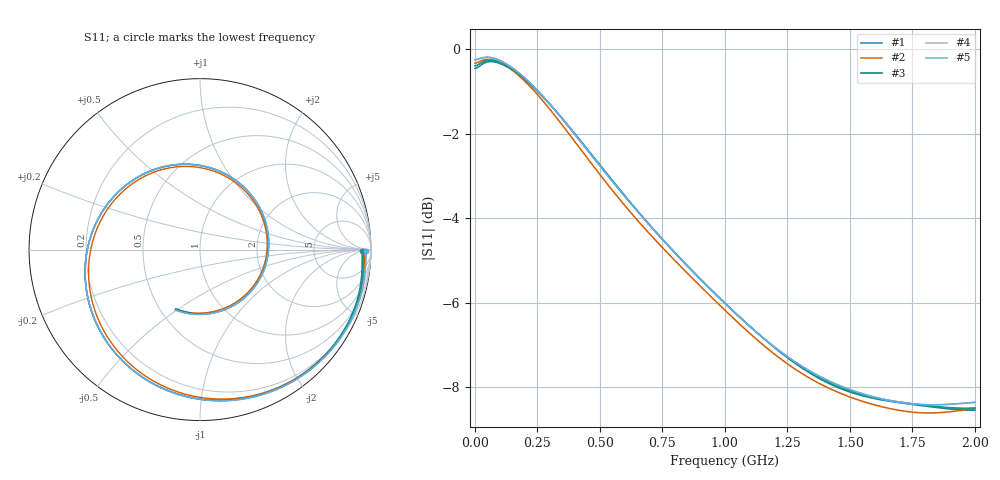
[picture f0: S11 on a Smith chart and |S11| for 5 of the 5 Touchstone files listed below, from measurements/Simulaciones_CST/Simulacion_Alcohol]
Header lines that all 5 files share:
! TOUCHSTONE file generated by CST MICROWAVE STUDIO
! Project name: Sonda-Coaxial_21mm_DisifixB_v2_Alchol.cst
! Header version: 2018
! Port assignment regex: !\s*Touchstone port\s*([0-9]+)\s*=\s*(CST MWS port|CST DS port)\s*([0-9]+|Zmin|Zmax)\s*\(\"(.*)\"\)(\s*mode\s*([0-9]+))?.*
! Touchstone port assignment:
! Touchstone port 1 = CST MWS port 1 ("")
# GHz S RI R 50
Fixed: h_recipiente = 20, l_conector = 50, r_arandela = 35, r_ext = 10.5, r_int = 3, r_recipiente = 100
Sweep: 1 MHz to 2 GHz
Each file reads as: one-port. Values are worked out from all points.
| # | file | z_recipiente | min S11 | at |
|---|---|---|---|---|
| 1 | Sonda-Coaxial_21mm_DisifixB_v2_Alchol_1.s1p | -30 | -8.6 dB | 1.985 GHz |
| 2 | Sonda-Coaxial_21mm_DisifixB_v2_Alchol_2.s1p | -10 | -8.6 dB | 1.817 GHz |
| 3 | Sonda-Coaxial_21mm_DisifixB_v2_Alchol_3.s1p | -50 | -8.5 dB | 1.962 GHz |
| 4 | Sonda-Coaxial_21mm_DisifixB_v2_Alchol_4.s1p | -80 | -8.4 dB | 1.833 GHz |
| 5 | Sonda-Coaxial_21mm_DisifixB_v2_Alchol_5.s1p | -100 | -8.4 dB | 1.832 GHz |
